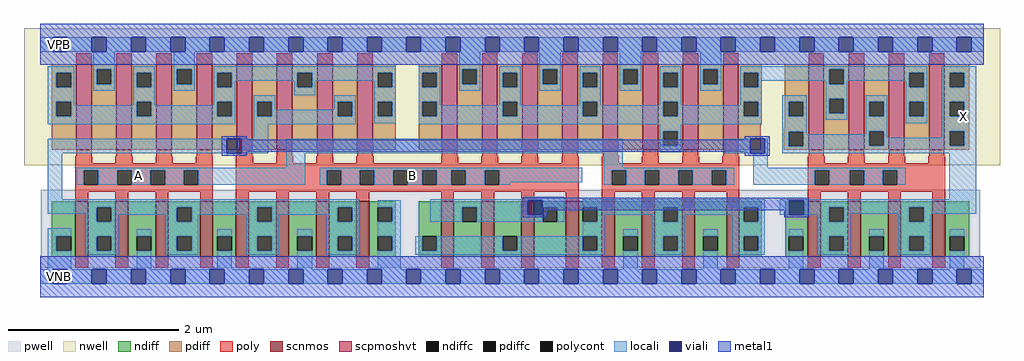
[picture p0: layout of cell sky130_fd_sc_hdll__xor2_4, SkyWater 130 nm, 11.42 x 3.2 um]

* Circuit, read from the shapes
.subckt sky130_fd_sc_hdll__xor2_4 A B VGND VNB VPB VPWR X
XM1 n1 A VGND VNB sky130_fd_pr__nfet_01v8 w=0.65 l=0.15 m=4
XM2 n1 B VGND VNB sky130_fd_pr__nfet_01v8 w=0.65 l=0.15 m=4
XM3 X B n2 VNB sky130_fd_pr__nfet_01v8 w=0.65 l=0.15 m=4
XM4 VGND A n2 VNB sky130_fd_pr__nfet_01v8 w=0.65 l=0.15 m=4
XM5 X n1 VGND VNB sky130_fd_pr__nfet_01v8 w=0.65 l=0.15 m=4
XM6 VPWR A n3 VPB sky130_fd_pr__pfet_01v8_hvt w=1 l=0.18 m=4
XM7 n1 B n3 VPB sky130_fd_pr__pfet_01v8_hvt w=1 l=0.18 m=4
XM8 VPWR B n4 VPB sky130_fd_pr__pfet_01v8_hvt w=1 l=0.18 m=4
XM9 VPWR A n4 VPB sky130_fd_pr__pfet_01v8_hvt w=1 l=0.18 m=4
XM10 n4 n1 X VPB sky130_fd_pr__pfet_01v8_hvt w=1 l=0.18 m=4
.ends

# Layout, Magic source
magic
tech sky130A
magscale 1 2
<< nwell >>
rect -38 261 2246 582
<< pwell >>
rect 1 21 2200 203
rect 29 -17 63 21
<< scnmos >>
rect 82 47 112 177
rect 176 47 206 177
rect 270 47 300 177
rect 374 47 404 177
rect 458 47 488 177
rect 552 47 582 177
rect 646 47 676 177
rect 740 47 770 177
rect 938 47 968 177
rect 1032 47 1062 177
rect 1126 47 1156 177
rect 1230 47 1260 177
rect 1314 47 1344 177
rect 1408 47 1438 177
rect 1502 47 1532 177
rect 1606 47 1636 177
rect 1796 47 1826 177
rect 1890 47 1920 177
rect 1984 47 2014 177
rect 2088 47 2118 177
<< scpmoshvt >>
rect 84 297 120 497
rect 178 297 214 497
rect 272 297 308 497
rect 366 297 402 497
rect 460 297 496 497
rect 554 297 590 497
rect 648 297 684 497
rect 742 297 778 497
rect 940 297 976 497
rect 1034 297 1070 497
rect 1128 297 1164 497
rect 1222 297 1258 497
rect 1316 297 1352 497
rect 1410 297 1446 497
rect 1504 297 1540 497
rect 1598 297 1634 497
rect 1798 297 1834 497
rect 1892 297 1928 497
rect 1986 297 2022 497
rect 2080 297 2116 497
<< ndiff >>
rect 27 95 82 177
rect 27 61 38 95
rect 72 61 82 95
rect 27 47 82 61
rect 112 163 176 177
rect 112 129 132 163
rect 166 129 176 163
rect 112 95 176 129
rect 112 61 132 95
rect 166 61 176 95
rect 112 47 176 61
rect 206 95 270 177
rect 206 61 226 95
rect 260 61 270 95
rect 206 47 270 61
rect 300 163 374 177
rect 300 129 320 163
rect 354 129 374 163
rect 300 95 374 129
rect 300 61 320 95
rect 354 61 374 95
rect 300 47 374 61
rect 404 95 458 177
rect 404 61 414 95
rect 448 61 458 95
rect 404 47 458 61
rect 488 163 552 177
rect 488 129 508 163
rect 542 129 552 163
rect 488 95 552 129
rect 488 61 508 95
rect 542 61 552 95
rect 488 47 552 61
rect 582 95 646 177
rect 582 61 602 95
rect 636 61 646 95
rect 582 47 646 61
rect 676 163 740 177
rect 676 129 696 163
rect 730 129 740 163
rect 676 95 740 129
rect 676 61 696 95
rect 730 61 740 95
rect 676 47 740 61
rect 770 163 832 177
rect 770 129 790 163
rect 824 129 832 163
rect 770 95 832 129
rect 770 61 790 95
rect 824 61 832 95
rect 770 47 832 61
rect 886 95 938 177
rect 886 61 894 95
rect 928 61 938 95
rect 886 47 938 61
rect 968 163 1032 177
rect 968 129 988 163
rect 1022 129 1032 163
rect 968 47 1032 129
rect 1062 95 1126 177
rect 1062 61 1082 95
rect 1116 61 1126 95
rect 1062 47 1126 61
rect 1156 163 1230 177
rect 1156 129 1176 163
rect 1210 129 1230 163
rect 1156 47 1230 129
rect 1260 163 1314 177
rect 1260 129 1270 163
rect 1304 129 1314 163
rect 1260 95 1314 129
rect 1260 61 1270 95
rect 1304 61 1314 95
rect 1260 47 1314 61
rect 1344 95 1408 177
rect 1344 61 1364 95
rect 1398 61 1408 95
rect 1344 47 1408 61
rect 1438 163 1502 177
rect 1438 129 1458 163
rect 1492 129 1502 163
rect 1438 95 1502 129
rect 1438 61 1458 95
rect 1492 61 1502 95
rect 1438 47 1502 61
rect 1532 95 1606 177
rect 1532 61 1552 95
rect 1586 61 1606 95
rect 1532 47 1606 61
rect 1636 163 1688 177
rect 1636 129 1646 163
rect 1680 129 1688 163
rect 1636 95 1688 129
rect 1636 61 1646 95
rect 1680 61 1688 95
rect 1636 47 1688 61
rect 1744 95 1796 177
rect 1744 61 1752 95
rect 1786 61 1796 95
rect 1744 47 1796 61
rect 1826 163 1890 177
rect 1826 129 1846 163
rect 1880 129 1890 163
rect 1826 95 1890 129
rect 1826 61 1846 95
rect 1880 61 1890 95
rect 1826 47 1890 61
rect 1920 95 1984 177
rect 1920 61 1940 95
rect 1974 61 1984 95
rect 1920 47 1984 61
rect 2014 163 2088 177
rect 2014 129 2034 163
rect 2068 129 2088 163
rect 2014 95 2088 129
rect 2014 61 2034 95
rect 2068 61 2088 95
rect 2014 47 2088 61
rect 2118 95 2174 177
rect 2118 61 2128 95
rect 2162 61 2174 95
rect 2118 47 2174 61
<< pdiff >>
rect 27 477 84 497
rect 27 443 38 477
rect 72 443 84 477
rect 27 409 84 443
rect 27 375 38 409
rect 72 375 84 409
rect 27 297 84 375
rect 120 485 178 497
rect 120 451 132 485
rect 166 451 178 485
rect 120 297 178 451
rect 214 477 272 497
rect 214 443 226 477
rect 260 443 272 477
rect 214 409 272 443
rect 214 375 226 409
rect 260 375 272 409
rect 214 297 272 375
rect 308 485 366 497
rect 308 451 320 485
rect 354 451 366 485
rect 308 297 366 451
rect 402 477 460 497
rect 402 443 414 477
rect 448 443 460 477
rect 402 409 460 443
rect 402 375 414 409
rect 448 375 460 409
rect 402 297 460 375
rect 496 409 554 497
rect 496 375 508 409
rect 542 375 554 409
rect 496 297 554 375
rect 590 477 648 497
rect 590 443 602 477
rect 636 443 648 477
rect 590 297 648 443
rect 684 409 742 497
rect 684 375 696 409
rect 730 375 742 409
rect 684 297 742 375
rect 778 477 832 497
rect 778 443 790 477
rect 824 443 832 477
rect 778 409 832 443
rect 778 375 790 409
rect 824 375 832 409
rect 778 297 832 375
rect 886 477 940 497
rect 886 443 894 477
rect 928 443 940 477
rect 886 409 940 443
rect 886 375 894 409
rect 928 375 940 409
rect 886 297 940 375
rect 976 485 1034 497
rect 976 451 988 485
rect 1022 451 1034 485
rect 976 297 1034 451
rect 1070 477 1128 497
rect 1070 443 1082 477
rect 1116 443 1128 477
rect 1070 409 1128 443
rect 1070 375 1082 409
rect 1116 375 1128 409
rect 1070 297 1128 375
rect 1164 485 1222 497
rect 1164 451 1176 485
rect 1210 451 1222 485
rect 1164 297 1222 451
rect 1258 477 1316 497
rect 1258 443 1270 477
rect 1304 443 1316 477
rect 1258 409 1316 443
rect 1258 375 1270 409
rect 1304 375 1316 409
rect 1258 297 1316 375
rect 1352 485 1410 497
rect 1352 451 1364 485
rect 1398 451 1410 485
rect 1352 297 1410 451
rect 1446 477 1504 497
rect 1446 443 1458 477
rect 1492 443 1504 477
rect 1446 409 1504 443
rect 1446 375 1458 409
rect 1492 375 1504 409
rect 1446 341 1504 375
rect 1446 307 1458 341
rect 1492 307 1504 341
rect 1446 297 1504 307
rect 1540 485 1598 497
rect 1540 451 1552 485
rect 1586 451 1598 485
rect 1540 297 1598 451
rect 1634 477 1688 497
rect 1634 443 1646 477
rect 1680 443 1688 477
rect 1634 409 1688 443
rect 1634 375 1646 409
rect 1680 375 1688 409
rect 1634 361 1688 375
rect 1742 409 1798 497
rect 1742 375 1752 409
rect 1786 375 1798 409
rect 1634 297 1686 361
rect 1742 346 1798 375
rect 1740 339 1798 346
rect 1740 305 1752 339
rect 1786 305 1798 339
rect 1740 297 1798 305
rect 1834 485 1892 497
rect 1834 451 1846 485
rect 1880 451 1892 485
rect 1834 417 1892 451
rect 1834 383 1846 417
rect 1880 383 1892 417
rect 1834 297 1892 383
rect 1928 409 1986 497
rect 1928 375 1940 409
rect 1974 375 1986 409
rect 1928 341 1986 375
rect 1928 307 1940 341
rect 1974 307 1986 341
rect 1928 297 1986 307
rect 2022 477 2080 497
rect 2022 443 2034 477
rect 2068 443 2080 477
rect 2022 409 2080 443
rect 2022 375 2034 409
rect 2068 375 2080 409
rect 2022 297 2080 375
rect 2116 477 2174 497
rect 2116 443 2128 477
rect 2162 443 2174 477
rect 2116 409 2174 443
rect 2116 375 2128 409
rect 2162 375 2174 409
rect 2116 341 2174 375
rect 2116 307 2128 341
rect 2162 307 2174 341
rect 2116 297 2174 307
<< ndiffc >>
rect 38 61 72 95
rect 132 129 166 163
rect 132 61 166 95
rect 226 61 260 95
rect 320 129 354 163
rect 320 61 354 95
rect 414 61 448 95
rect 508 129 542 163
rect 508 61 542 95
rect 602 61 636 95
rect 696 129 730 163
rect 696 61 730 95
rect 790 129 824 163
rect 790 61 824 95
rect 894 61 928 95
rect 988 129 1022 163
rect 1082 61 1116 95
rect 1176 129 1210 163
rect 1270 129 1304 163
rect 1270 61 1304 95
rect 1364 61 1398 95
rect 1458 129 1492 163
rect 1458 61 1492 95
rect 1552 61 1586 95
rect 1646 129 1680 163
rect 1646 61 1680 95
rect 1752 61 1786 95
rect 1846 129 1880 163
rect 1846 61 1880 95
rect 1940 61 1974 95
rect 2034 129 2068 163
rect 2034 61 2068 95
rect 2128 61 2162 95
<< pdiffc >>
rect 38 443 72 477
rect 38 375 72 409
rect 132 451 166 485
rect 226 443 260 477
rect 226 375 260 409
rect 320 451 354 485
rect 414 443 448 477
rect 414 375 448 409
rect 508 375 542 409
rect 602 443 636 477
rect 696 375 730 409
rect 790 443 824 477
rect 790 375 824 409
rect 894 443 928 477
rect 894 375 928 409
rect 988 451 1022 485
rect 1082 443 1116 477
rect 1082 375 1116 409
rect 1176 451 1210 485
rect 1270 443 1304 477
rect 1270 375 1304 409
rect 1364 451 1398 485
rect 1458 443 1492 477
rect 1458 375 1492 409
rect 1458 307 1492 341
rect 1552 451 1586 485
rect 1646 443 1680 477
rect 1646 375 1680 409
rect 1752 375 1786 409
rect 1752 305 1786 339
rect 1846 451 1880 485
rect 1846 383 1880 417
rect 1940 375 1974 409
rect 1940 307 1974 341
rect 2034 443 2068 477
rect 2034 375 2068 409
rect 2128 443 2162 477
rect 2128 375 2162 409
rect 2128 307 2162 341
<< poly >>
rect 84 497 120 523
rect 178 497 214 523
rect 272 497 308 523
rect 366 497 402 523
rect 460 497 496 523
rect 554 497 590 523
rect 648 497 684 523
rect 742 497 778 523
rect 940 497 976 523
rect 1034 497 1070 523
rect 1128 497 1164 523
rect 1222 497 1258 523
rect 1316 497 1352 523
rect 1410 497 1446 523
rect 1504 497 1540 523
rect 1598 497 1634 523
rect 1798 497 1834 523
rect 1892 497 1928 523
rect 1986 497 2022 523
rect 2080 497 2116 523
rect 84 282 120 297
rect 178 282 214 297
rect 272 282 308 297
rect 366 282 402 297
rect 460 282 496 297
rect 554 282 590 297
rect 648 282 684 297
rect 742 282 778 297
rect 940 282 976 297
rect 1034 282 1070 297
rect 1128 282 1164 297
rect 1222 282 1258 297
rect 1316 282 1352 297
rect 1410 282 1446 297
rect 1504 282 1540 297
rect 1598 282 1634 297
rect 1798 282 1834 297
rect 1892 282 1928 297
rect 1986 282 2022 297
rect 2080 282 2116 297
rect 82 265 122 282
rect 176 265 216 282
rect 270 265 310 282
rect 364 265 404 282
rect 82 249 404 265
rect 82 215 102 249
rect 136 215 180 249
rect 214 215 258 249
rect 292 215 336 249
rect 370 215 404 249
rect 82 199 404 215
rect 82 177 112 199
rect 176 177 206 199
rect 270 177 300 199
rect 374 177 404 199
rect 458 265 498 282
rect 552 265 592 282
rect 646 265 686 282
rect 740 265 780 282
rect 938 265 978 282
rect 1032 265 1072 282
rect 1126 265 1166 282
rect 1220 265 1260 282
rect 458 249 1260 265
rect 458 215 670 249
rect 704 215 748 249
rect 782 215 826 249
rect 860 215 894 249
rect 928 215 962 249
rect 996 215 1040 249
rect 1074 215 1260 249
rect 458 199 1260 215
rect 458 177 488 199
rect 552 177 582 199
rect 646 177 676 199
rect 740 177 770 199
rect 938 177 968 199
rect 1032 177 1062 199
rect 1126 177 1156 199
rect 1230 177 1260 199
rect 1314 265 1354 282
rect 1408 265 1448 282
rect 1502 265 1542 282
rect 1596 265 1636 282
rect 1314 249 1636 265
rect 1314 215 1337 249
rect 1371 215 1415 249
rect 1449 215 1493 249
rect 1527 215 1571 249
rect 1605 215 1636 249
rect 1314 199 1636 215
rect 1314 177 1344 199
rect 1408 177 1438 199
rect 1502 177 1532 199
rect 1606 177 1636 199
rect 1796 265 1836 282
rect 1890 265 1930 282
rect 1984 265 2024 282
rect 2078 265 2118 282
rect 1796 249 2118 265
rect 1796 215 1812 249
rect 1846 215 1894 249
rect 1928 215 1972 249
rect 2006 215 2118 249
rect 1796 199 2118 215
rect 1796 177 1826 199
rect 1890 177 1920 199
rect 1984 177 2014 199
rect 2088 177 2118 199
rect 82 21 112 47
rect 176 21 206 47
rect 270 21 300 47
rect 374 21 404 47
rect 458 21 488 47
rect 552 21 582 47
rect 646 21 676 47
rect 740 21 770 47
rect 938 21 968 47
rect 1032 21 1062 47
rect 1126 21 1156 47
rect 1230 21 1260 47
rect 1314 21 1344 47
rect 1408 21 1438 47
rect 1502 21 1532 47
rect 1606 21 1636 47
rect 1796 21 1826 47
rect 1890 21 1920 47
rect 1984 21 2014 47
rect 2088 21 2118 47
<< polycont >>
rect 102 215 136 249
rect 180 215 214 249
rect 258 215 292 249
rect 336 215 370 249
rect 670 215 704 249
rect 748 215 782 249
rect 826 215 860 249
rect 894 215 928 249
rect 962 215 996 249
rect 1040 215 1074 249
rect 1337 215 1371 249
rect 1415 215 1449 249
rect 1493 215 1527 249
rect 1571 215 1605 249
rect 1812 215 1846 249
rect 1894 215 1928 249
rect 1972 215 2006 249
<< locali >>
rect 0 527 29 561
rect 63 527 121 561
rect 155 527 213 561
rect 247 527 305 561
rect 339 527 397 561
rect 431 527 489 561
rect 523 527 581 561
rect 615 527 673 561
rect 707 527 765 561
rect 799 527 857 561
rect 891 527 949 561
rect 983 527 1041 561
rect 1075 527 1133 561
rect 1167 527 1225 561
rect 1259 527 1317 561
rect 1351 527 1409 561
rect 1443 527 1501 561
rect 1535 527 1593 561
rect 1627 527 1685 561
rect 1719 527 1777 561
rect 1811 527 1869 561
rect 1903 527 1961 561
rect 1995 527 2053 561
rect 2087 527 2145 561
rect 2179 527 2208 561
rect 17 477 80 493
rect 17 443 38 477
rect 72 443 80 477
rect 17 409 80 443
rect 124 485 174 527
rect 124 451 132 485
rect 166 451 174 485
rect 124 435 174 451
rect 218 477 268 493
rect 218 443 226 477
rect 260 443 268 477
rect 17 375 38 409
rect 72 401 80 409
rect 218 409 268 443
rect 312 485 362 527
rect 312 451 320 485
rect 354 451 362 485
rect 312 435 362 451
rect 406 477 832 493
rect 406 443 414 477
rect 448 459 602 477
rect 448 443 456 459
rect 218 401 226 409
rect 72 375 226 401
rect 260 401 268 409
rect 406 409 456 443
rect 594 443 602 459
rect 636 459 790 477
rect 636 443 644 459
rect 594 425 644 443
rect 782 443 790 459
rect 824 443 832 477
rect 406 401 414 409
rect 260 375 414 401
rect 448 375 456 409
rect 17 357 456 375
rect 500 409 550 425
rect 500 375 508 409
rect 542 391 550 409
rect 688 409 738 425
rect 688 391 696 409
rect 542 375 696 391
rect 730 375 738 409
rect 500 357 738 375
rect 782 409 832 443
rect 782 375 790 409
rect 824 375 832 409
rect 782 359 832 375
rect 886 477 936 493
rect 886 443 894 477
rect 928 443 936 477
rect 886 409 936 443
rect 980 485 1030 527
rect 980 451 988 485
rect 1022 451 1030 485
rect 980 435 1030 451
rect 1074 477 1124 493
rect 1074 443 1082 477
rect 1116 443 1124 477
rect 886 375 894 409
rect 928 401 936 409
rect 1074 409 1124 443
rect 1168 485 1218 527
rect 1168 451 1176 485
rect 1210 451 1218 485
rect 1168 435 1218 451
rect 1262 477 1312 493
rect 1262 443 1270 477
rect 1304 443 1312 477
rect 1074 401 1082 409
rect 928 375 1082 401
rect 1116 401 1124 409
rect 1262 409 1312 443
rect 1356 485 1406 527
rect 1356 451 1364 485
rect 1398 451 1406 485
rect 1356 435 1406 451
rect 1450 477 1500 493
rect 1450 443 1458 477
rect 1492 443 1500 477
rect 1262 401 1270 409
rect 1116 375 1270 401
rect 1304 401 1312 409
rect 1450 409 1500 443
rect 1544 485 1594 527
rect 1544 451 1552 485
rect 1586 451 1594 485
rect 1544 435 1594 451
rect 1638 485 2076 493
rect 1638 477 1846 485
rect 1638 443 1646 477
rect 1680 459 1846 477
rect 1680 443 1688 459
rect 1450 401 1458 409
rect 1304 375 1458 401
rect 1492 401 1500 409
rect 1638 409 1688 443
rect 1838 451 1846 459
rect 1880 477 2076 485
rect 1880 459 2034 477
rect 1880 451 1888 459
rect 1638 401 1646 409
rect 1492 375 1646 401
rect 1680 375 1688 409
rect 886 357 1688 375
rect 1736 409 1794 425
rect 1736 375 1752 409
rect 1786 375 1794 409
rect 500 323 534 357
rect 1450 341 1500 357
rect 17 289 437 323
rect 471 289 534 323
rect 576 289 1363 323
rect 1450 307 1458 341
rect 1492 307 1500 341
rect 1736 339 1794 375
rect 1838 417 1888 451
rect 2026 443 2034 459
rect 2068 443 2076 477
rect 1838 383 1846 417
rect 1880 383 1888 417
rect 1838 367 1888 383
rect 1932 409 1982 425
rect 1932 375 1940 409
rect 1974 375 1982 409
rect 1450 291 1500 307
rect 1602 289 1661 323
rect 1695 289 1702 323
rect 1736 305 1752 339
rect 1786 333 1794 339
rect 1932 341 1982 375
rect 2026 409 2076 443
rect 2026 375 2034 409
rect 2068 375 2076 409
rect 2026 359 2076 375
rect 2110 477 2191 493
rect 2110 443 2128 477
rect 2162 443 2191 477
rect 2110 409 2191 443
rect 2110 375 2128 409
rect 2162 375 2191 409
rect 1932 333 1940 341
rect 1786 307 1940 333
rect 1974 325 1982 341
rect 2110 341 2191 375
rect 2110 325 2128 341
rect 1974 307 2128 325
rect 2162 307 2191 341
rect 1786 305 2191 307
rect 1736 289 2191 305
rect 17 181 51 289
rect 576 255 620 289
rect 1319 255 1363 289
rect 1668 255 1702 289
rect 85 249 620 255
rect 85 215 102 249
rect 136 215 180 249
rect 214 215 258 249
rect 292 215 336 249
rect 370 215 620 249
rect 654 249 1268 255
rect 654 215 670 249
rect 704 215 748 249
rect 782 215 826 249
rect 860 215 894 249
rect 928 215 962 249
rect 996 215 1040 249
rect 1074 221 1268 249
rect 1319 249 1624 255
rect 1074 215 1100 221
rect 1319 215 1337 249
rect 1371 215 1415 249
rect 1449 215 1493 249
rect 1527 215 1571 249
rect 1605 215 1624 249
rect 1668 249 2026 255
rect 1668 215 1812 249
rect 1846 215 1894 249
rect 1928 215 1972 249
rect 2006 215 2026 249
rect 1130 181 1226 187
rect 2127 181 2191 289
rect 17 163 746 181
rect 913 179 1226 181
rect 17 147 132 163
rect 106 129 132 147
rect 166 145 320 163
rect 166 129 182 145
rect 17 95 72 113
rect 17 61 38 95
rect 17 17 72 61
rect 106 95 182 129
rect 294 129 320 145
rect 354 145 508 163
rect 354 129 370 145
rect 106 61 132 95
rect 166 61 182 95
rect 106 51 182 61
rect 226 95 260 111
rect 226 17 260 61
rect 294 95 370 129
rect 482 129 508 145
rect 542 145 696 163
rect 542 129 558 145
rect 294 61 320 95
rect 354 61 370 95
rect 294 51 370 61
rect 414 95 448 111
rect 414 17 448 61
rect 482 95 558 129
rect 670 129 696 145
rect 730 129 746 163
rect 482 61 508 95
rect 542 61 558 95
rect 482 51 558 61
rect 602 95 636 111
rect 602 17 636 61
rect 670 95 746 129
rect 670 61 696 95
rect 730 61 746 95
rect 670 51 746 61
rect 790 163 844 179
rect 824 129 844 163
rect 913 163 1141 179
rect 913 129 988 163
rect 1022 145 1141 163
rect 1175 163 1226 179
rect 1175 145 1176 163
rect 1022 129 1176 145
rect 1210 129 1226 163
rect 1270 163 1696 181
rect 1304 145 1458 163
rect 1304 129 1320 145
rect 790 95 844 129
rect 1270 95 1320 129
rect 1432 129 1458 145
rect 1492 145 1646 163
rect 1492 129 1508 145
rect 824 61 844 95
rect 790 17 844 61
rect 878 61 894 95
rect 928 61 1082 95
rect 1116 61 1270 95
rect 1304 61 1320 95
rect 878 51 1320 61
rect 1364 95 1398 111
rect 1364 17 1398 61
rect 1432 95 1508 129
rect 1620 129 1646 145
rect 1680 129 1696 163
rect 1730 179 2191 181
rect 1730 145 1753 179
rect 1787 163 2191 179
rect 1787 145 1846 163
rect 1432 61 1458 95
rect 1492 61 1508 95
rect 1432 51 1508 61
rect 1552 95 1586 111
rect 1552 17 1586 61
rect 1620 95 1696 129
rect 1820 129 1846 145
rect 1880 147 2034 163
rect 1880 129 1896 147
rect 1620 61 1646 95
rect 1680 61 1696 95
rect 1620 51 1696 61
rect 1752 95 1786 111
rect 1752 17 1786 61
rect 1820 95 1896 129
rect 2008 129 2034 147
rect 2068 147 2191 163
rect 2068 129 2084 147
rect 1820 61 1846 95
rect 1880 61 1896 95
rect 1820 51 1896 61
rect 1940 95 1974 111
rect 1940 17 1974 61
rect 2008 95 2084 129
rect 2008 61 2034 95
rect 2068 61 2084 95
rect 2008 51 2084 61
rect 2128 95 2162 111
rect 2128 17 2162 61
rect 0 -17 29 17
rect 63 -17 121 17
rect 155 -17 213 17
rect 247 -17 305 17
rect 339 -17 397 17
rect 431 -17 489 17
rect 523 -17 581 17
rect 615 -17 673 17
rect 707 -17 765 17
rect 799 -17 857 17
rect 891 -17 949 17
rect 983 -17 1041 17
rect 1075 -17 1133 17
rect 1167 -17 1225 17
rect 1259 -17 1317 17
rect 1351 -17 1409 17
rect 1443 -17 1501 17
rect 1535 -17 1593 17
rect 1627 -17 1685 17
rect 1719 -17 1777 17
rect 1811 -17 1869 17
rect 1903 -17 1961 17
rect 1995 -17 2053 17
rect 2087 -17 2145 17
rect 2179 -17 2208 17
<< viali >>
rect 29 527 63 561
rect 121 527 155 561
rect 213 527 247 561
rect 305 527 339 561
rect 397 527 431 561
rect 489 527 523 561
rect 581 527 615 561
rect 673 527 707 561
rect 765 527 799 561
rect 857 527 891 561
rect 949 527 983 561
rect 1041 527 1075 561
rect 1133 527 1167 561
rect 1225 527 1259 561
rect 1317 527 1351 561
rect 1409 527 1443 561
rect 1501 527 1535 561
rect 1593 527 1627 561
rect 1685 527 1719 561
rect 1777 527 1811 561
rect 1869 527 1903 561
rect 1961 527 1995 561
rect 2053 527 2087 561
rect 2145 527 2179 561
rect 437 289 471 323
rect 1661 289 1695 323
rect 1141 145 1175 179
rect 1753 145 1787 179
rect 29 -17 63 17
rect 121 -17 155 17
rect 213 -17 247 17
rect 305 -17 339 17
rect 397 -17 431 17
rect 489 -17 523 17
rect 581 -17 615 17
rect 673 -17 707 17
rect 765 -17 799 17
rect 857 -17 891 17
rect 949 -17 983 17
rect 1041 -17 1075 17
rect 1133 -17 1167 17
rect 1225 -17 1259 17
rect 1317 -17 1351 17
rect 1409 -17 1443 17
rect 1501 -17 1535 17
rect 1593 -17 1627 17
rect 1685 -17 1719 17
rect 1777 -17 1811 17
rect 1869 -17 1903 17
rect 1961 -17 1995 17
rect 2053 -17 2087 17
rect 2145 -17 2179 17
<< metal1 >>
rect 0 561 2208 592
rect 0 527 29 561
rect 63 527 121 561
rect 155 527 213 561
rect 247 527 305 561
rect 339 527 397 561
rect 431 527 489 561
rect 523 527 581 561
rect 615 527 673 561
rect 707 527 765 561
rect 799 527 857 561
rect 891 527 949 561
rect 983 527 1041 561
rect 1075 527 1133 561
rect 1167 527 1225 561
rect 1259 527 1317 561
rect 1351 527 1409 561
rect 1443 527 1501 561
rect 1535 527 1593 561
rect 1627 527 1685 561
rect 1719 527 1777 561
rect 1811 527 1869 561
rect 1903 527 1961 561
rect 1995 527 2053 561
rect 2087 527 2145 561
rect 2179 527 2208 561
rect 0 496 2208 527
rect 425 323 483 329
rect 425 289 437 323
rect 471 320 483 323
rect 1649 323 1707 329
rect 1649 320 1661 323
rect 471 292 1661 320
rect 471 289 483 292
rect 425 283 483 289
rect 1649 289 1661 292
rect 1695 289 1707 323
rect 1649 283 1707 289
rect 1129 179 1799 185
rect 1129 145 1141 179
rect 1175 156 1753 179
rect 1175 145 1187 156
rect 1129 139 1187 145
rect 1741 145 1753 156
rect 1787 145 1799 179
rect 1741 139 1799 145
rect 0 17 2208 48
rect 0 -17 29 17
rect 63 -17 121 17
rect 155 -17 213 17
rect 247 -17 305 17
rect 339 -17 397 17
rect 431 -17 489 17
rect 523 -17 581 17
rect 615 -17 673 17
rect 707 -17 765 17
rect 799 -17 857 17
rect 891 -17 949 17
rect 983 -17 1041 17
rect 1075 -17 1133 17
rect 1167 -17 1225 17
rect 1259 -17 1317 17
rect 1351 -17 1409 17
rect 1443 -17 1501 17
rect 1535 -17 1593 17
rect 1627 -17 1685 17
rect 1719 -17 1777 17
rect 1811 -17 1869 17
rect 1903 -17 1961 17
rect 1995 -17 2053 17
rect 2087 -17 2145 17
rect 2179 -17 2208 17
rect 0 -48 2208 -17
<< labels >>
flabel locali s 2143 357 2177 391 0 FreeSans 400 0 0 0 X
port 7 nsew signal output
flabel locali s 853 221 887 255 0 FreeSans 400 0 0 0 B
port 2 nsew signal input
flabel locali s 213 221 247 255 0 FreeSans 400 0 0 0 A
port 1 nsew signal input
flabel pwell s 29 -17 63 17 0 FreeSans 200 0 0 0 VNB
port 4 nsew ground bidirectional
flabel nwell s 29 527 63 561 0 FreeSans 200 0 0 0 VPB
port 5 nsew power bidirectional
flabel metal1 s 29 -17 63 17 0 FreeSans 200 0 0 0 VGND
port 3 nsew ground bidirectional
flabel metal1 s 29 527 63 561 0 FreeSans 200 0 0 0 VPWR
port 6 nsew power bidirectional
rlabel comment s 0 0 0 0 4 xor2_4
<< properties >>
string LEFsite unithd
string LEFclass CORE
string FIXED_BBOX 0 0 2208 544
string GDS_FILE $PDKPATH/libs.ref/sky130_fd_sc_hdll/gds/sky130_fd_sc_hdll.gds
string LEFsymmetry X Y R90
string GDS_END 27654
string GDS_START 12384
string LEFproperties maskLayoutSubType "abstract" prCellType "standard" originalViewName "layout"
<< end >>
